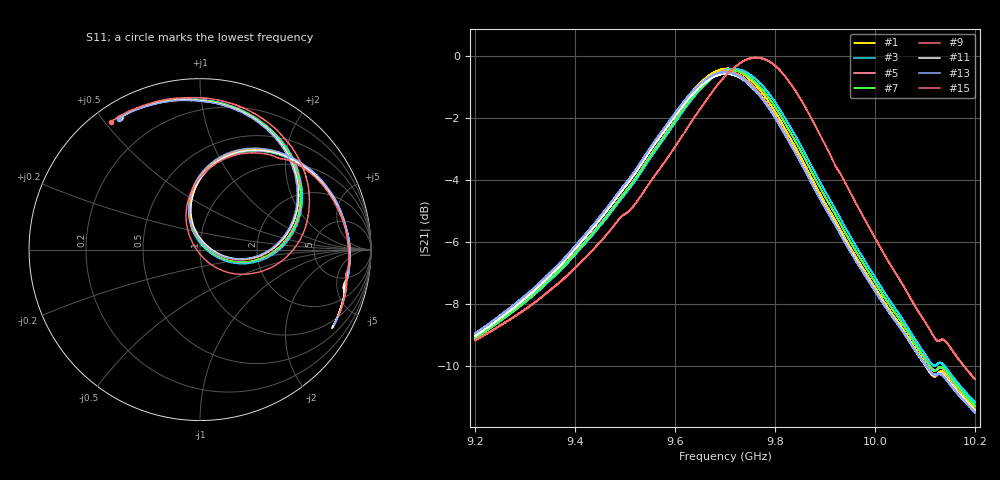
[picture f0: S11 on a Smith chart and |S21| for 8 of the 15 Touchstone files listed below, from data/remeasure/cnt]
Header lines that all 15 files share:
!Agilent Technologies,N5242A,MY51221714,A.09.90.19
!Agilent N5242A: A.09.90.19
!Correction: S11(Full 2 Port(1,2))
!S21(Full 2 Port(1,2))
!S12(Full 2 Port(1,2))
!S22(Full 2 Port(1,2))
!S2P File: Measurements: S11, S21, S12, S22:
# Hz S  dB  R 50
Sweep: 9.2 GHz to 10.2 GHz
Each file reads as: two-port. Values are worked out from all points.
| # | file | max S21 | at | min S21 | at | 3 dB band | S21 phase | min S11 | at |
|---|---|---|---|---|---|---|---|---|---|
| 1 | c0_1.s2p | -0.41 dB | 9.706 GHz | -11.4 dB | 10.2 GHz | 9.535 GHz-9.856 GHz | -112 deg at 9.7 GHz | -31.4 dB | 9.707 GHz |
| 2 | c0_2.s2p | -0.42 dB | 9.706 GHz | -11.3 dB | 10.2 GHz | 9.538 GHz-9.859 GHz | -111 deg at 9.7 GHz | -31.7 dB | 9.71 GHz |
| 3 | c10_1.s2p | -0.42 dB | 9.718 GHz | -11.2 dB | 10.2 GHz | 9.546 GHz-9.869 GHz | -108 deg at 9.7 GHz | -32.2 dB | 9.719 GHz |
| 4 | c10_2.s2p | -0.42 dB | 9.718 GHz | -11.3 dB | 10.2 GHz | 9.544 GHz-9.867 GHz | -109 deg at 9.7 GHz | -31.6 dB | 9.716 GHz |
| 5 | c11_1.s2p | -0.46 dB | 9.718 GHz | -11.3 dB | 10.2 GHz | 9.541 GHz-9.864 GHz | -110 deg at 9.7 GHz | -30.6 dB | 9.714 GHz |
| 6 | c11_2.s2p | -0.52 dB | 9.71 GHz | -11.3 dB | 10.2 GHz | 9.537 GHz-9.862 GHz | -111 deg at 9.7 GHz | -28.4 dB | 9.71 GHz |
| 7 | c12_1.s2p | -0.47 dB | 9.715 GHz | -11.3 dB | 10.2 GHz | 9.541 GHz-9.865 GHz | -110 deg at 9.7 GHz | -30.4 dB | 9.714 GHz |
| 8 | c12_2.s2p | -0.61 dB | 9.703 GHz | -11.4 dB | 10.2 GHz | 9.53 GHz-9.857 GHz | -113 deg at 9.7 GHz | -26.2 dB | 9.705 GHz |
| 9 | c13_1.s2p | -0.51 dB | 9.704 GHz | -11.4 dB | 10.2 GHz | 9.531 GHz-9.855 GHz | -113 deg at 9.7 GHz | -28.4 dB | 9.704 GHz |
| 10 | c13_2.s2p | -1.05 dB | 9.69 GHz | -11.7 dB | 10.2 GHz | 9.508 GHz-9.852 GHz | -118 deg at 9.7 GHz | -20.7 dB | 9.693 GHz |
| 11 | c14_1.s2p | -0.57 dB | 9.706 GHz | -11.5 dB | 10.2 GHz | 9.53 GHz-9.856 GHz | -113 deg at 9.7 GHz | -26.9 dB | 9.703 GHz |
| 12 | c14_2.s2p | -1.68 dB | 9.672 GHz | -12.0 dB | 10.2 GHz | 9.472 GHz-9.843 GHz | -123 deg at 9.7 GHz | -16.8 dB | 9.673 GHz |
| 13 | c15_1.s2p | -0.53 dB | 9.703 GHz | -11.5 dB | 10.2 GHz | 9.527 GHz-9.854 GHz | -114 deg at 9.7 GHz | -28.6 dB | 9.702 GHz |
| 14 | c15_2.s2p | -1.40 dB | 9.681 GHz | -11.8 dB | 10.2 GHz | 9.486 GHz-9.848 GHz | -121 deg at 9.7 GHz | -17.9 dB | 9.684 GHz |
| 15 | fp_3.92.s2p | -0.05 dB | 9.759 GHz | -10.4 dB | 10.2 GHz | 9.595 GHz-9.906 GHz | -92 deg at 9.7 GHz | -36.3 dB | 9.761 GHz |
